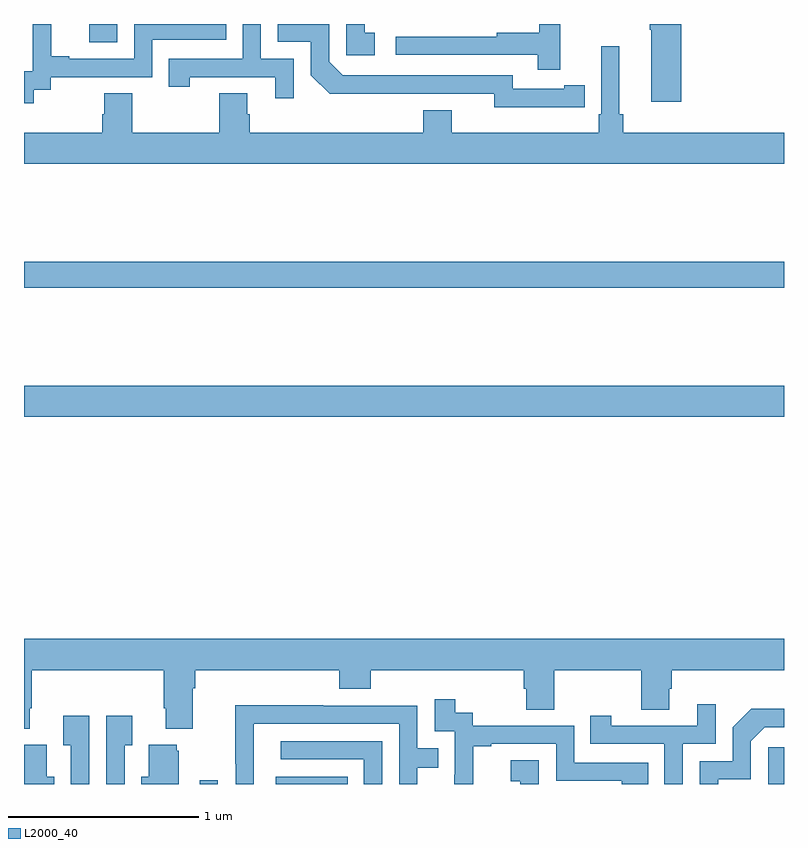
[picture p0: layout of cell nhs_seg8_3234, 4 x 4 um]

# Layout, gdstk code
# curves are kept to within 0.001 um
import gdstk
lib = gdstk.Library(unit=1e-6, precision=1e-09)
def R(c, l, rs):  # rectangles x0, y0, x1, y1
    for r in rs: c.add(gdstk.rectangle(r[:2], r[2:], *l))
def P(c, l, *ps):  # polygons
    for p in ps: c.add(gdstk.Polygon(p, *l))
L2000_40 = (2000, 40)

nhs_seg8_3234 = lib.new_cell('nhs_seg8_3234')
R(nhs_seg8_3234, L2000_40, [(311.925,1115.9,312.021,1115.92), (312.326,1115.9,312.704,1115.938), (314.916,1115.9,315,1116.094), (311,1117.832,315,1117.996), (311,1118.512,315,1118.648), (311.343,1119.804,311.49,1119.9)])
P(nhs_seg8_3234, L2000_40, [(314.459,1119.9),(314.293,1119.9),(314.293,1119.871),(314.3,1119.871),(314.3,1119.492),(314.459,1119.492)],
  [(312.42,1119.717),(312.246,1119.717),(312.246,1119.9),(312.15,1119.9),(312.15,1119.717),(311.761,1119.717),(311.761,1119.57),(311.872,1119.57),(311.872,1119.621),(312.323,1119.621),(312.323,1119.51),(312.42,1119.51)],
  [(311.05,1119.553),(311.142,1119.553),(311.142,1119.621),(311.676,1119.621),(311.676,1119.816),(312.065,1119.816),(312.065,1119.9),(311.58,1119.9),(311.58,1119.717),(311.239,1119.717),(311.239,1119.73),(311.144,1119.73),(311.144,1119.9),(311.045,1119.9),(311.045,1119.881),(311.046,1119.881),(311.046,1119.651),(311,1119.651),(311,1119.483),(311.05,1119.483)],
  [(312.847,1119.855),(312.794,1119.855),(312.794,1119.9),(312.696,1119.9),(312.696,1119.735),(312.847,1119.735)],
  [(313.823,1119.9),(313.713,1119.9),(313.713,1119.854),(313.489,1119.854),(313.489,1119.834),(312.957,1119.834),(312.957,1119.738),(313.705,1119.738),(313.705,1119.66),(313.823,1119.66)],
  [(313.844,1119.462),(313.952,1119.462),(313.952,1119.578),(313.844,1119.578),(313.844,1119.558),(313.572,1119.558),(313.572,1119.63),(312.678,1119.63),(312.606,1119.702),(312.606,1119.9),(312.336,1119.9),(312.336,1119.807),(312.51,1119.807),(312.51,1119.63),(312.608,1119.533),(313.476,1119.534),(313.476,1119.461)],
  [(315,1119.328),(314.153,1119.328),(314.153,1119.424),(314.134,1119.424),(314.134,1119.784),(314.037,1119.784),(314.037,1119.424),(314.024,1119.424),(314.024,1119.328),(313.252,1119.328),(313.252,1119.445),(313.1,1119.445),(313.1,1119.328),(312.188,1119.328),(312.188,1119.426),(312.175,1119.426),(312.175,1119.536),(312.028,1119.536),(312.028,1119.328),(311.571,1119.328),(311.571,1119.536),(311.423,1119.536),(311.423,1119.426),(311.411,1119.426),(311.411,1119.328),(311,1119.328),(311,1119.164),(315,1119.164)],
  [(311.029,1116.298),(311.042,1116.298),(311.042,1116.5),(311.735,1116.5),(311.735,1116.298),(311.747,1116.298),(311.747,1116.191),(311.887,1116.191),(311.887,1116.404),(311.9,1116.404),(311.9,1116.5),(312.659,1116.5),(312.659,1116.401),(312.824,1116.401),(312.824,1116.5),(313.631,1116.5),(313.631,1116.402),(313.643,1116.402),(313.643,1116.292),(313.791,1116.292),(313.791,1116.5),(314.248,1116.5),(314.248,1116.292),(314.395,1116.292),(314.395,1116.402),(314.408,1116.402),(314.408,1116.5),(315,1116.5),(315,1116.664),(311,1116.664),(311,1116.191),(311.029,1116.191)],
  [(313.364,1116.099),(313.459,1116.099),(313.459,1116.111),(313.8,1116.111),(313.8,1115.916),(314.145,1115.916),(314.145,1115.9),(314.285,1115.9),(314.285,1116.012),(313.896,1116.012),(313.896,1116.207),(313.362,1116.207),(313.362,1116.276),(313.27,1116.276),(313.27,1116.346),(313.161,1116.346),(313.161,1116.177),(313.266,1116.177),(313.266,1115.948),(313.265,1115.948),(313.265,1115.9),(313.364,1115.9)],
  [(314.466,1116.111),(314.64,1116.111),(314.64,1116.319),(314.543,1116.319),(314.543,1116.207),(314.092,1116.207),(314.092,1116.259),(313.981,1116.259),(313.981,1116.111),(314.37,1116.111),(314.37,1115.9),(314.466,1115.9)],
  [(312.21,1116.216),(312.975,1116.216),(312.975,1115.9),(313.071,1115.9),(313.071,1115.986),(313.181,1115.986),(313.181,1116.087),(313.071,1116.087),(313.071,1116.312),(312.575,1116.312),(312.575,1116.314),(312.112,1116.314),(312.112,1116.007),(312.114,1116.007),(312.114,1115.9),(312.21,1115.9)],
  [(314.653,1115.925),(314.826,1115.925),(314.826,1116.126),(314.898,1116.198),(315,1116.198),(315,1116.296),(314.828,1116.296),(314.73,1116.198),(314.73,1116.021),(314.556,1116.021),(314.556,1115.9),(314.653,1115.9)],
  [(311.343,1116.259),(311.207,1116.259),(311.207,1116.103),(311.247,1116.103),(311.247,1115.9),(311.343,1115.9)],
  [(311.529,1116.103),(311.569,1116.103),(311.569,1116.259),(311.433,1116.259),(311.433,1115.9),(311.529,1115.9)],
  [(312.885,1116.126),(312.351,1116.126),(312.351,1116.03),(312.789,1116.03),(312.789,1115.9),(312.885,1115.9)],
  [(311.158,1115.938),(311.119,1115.938),(311.119,1116.106),(311,1116.106),(311,1115.9),(311.158,1115.9)],
  [(311.815,1116.075),(311.804,1116.075),(311.804,1116.106),(311.657,1116.106),(311.657,1115.938),(311.618,1115.938),(311.618,1115.9),(311.815,1115.9)],
  [(313.71,1116.025),(313.563,1116.025),(313.563,1115.915),(313.612,1115.915),(313.612,1115.9),(313.71,1115.9)])

lib.write_gds('nhs_seg8_3234.gds')
